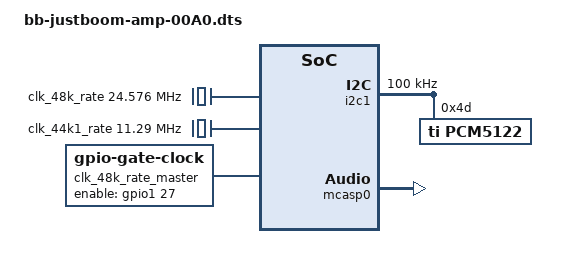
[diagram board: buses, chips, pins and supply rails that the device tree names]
/*
 * Copyright (C) 2012 Texas Instruments Incorporated - http://www.ti.com/
 *
 * This program is free software; you can redistribute it and/or modify
 * it under the terms of the GNU General Public License version 2 as
 * published by the Free Software Foundation.
 */

/dts-v1/;
/plugin/;

/ {
	/*
	 * Helper to show loaded overlays under: /proc/device-tree/chosen/overlays/
	 */
	fragment@0 {
		target-path="/";
		__overlay__ {

			chosen {
				overlays {
					bb-justboom-amp-00A0 = __TIMESTAMP__;
				};
			};
		};
	};

	/*
	 * Free up the pins used by the cape from the pinmux helpers.
	 */
	fragment@1 {
		target = <&ocp>;
		__overlay__ {
			P9_18_pinmux { status = "disabled"; };	/* P9_18: spi0_d1.i2c1_sda,SLEWCTRL_SLOW | INPUT_PULLUP |MODE2*/
			P9_17_pinmux { status = "disabled"; };	/* P9_17: spi0_cs0.i2c1_scl,SLEWCTRL_SLOW | INPUT_PULLUP | MODE2*/

			P9_25_pinmux { status = "disabled"; };	/* P9_25: mcasp0_ahclkx,	     MODE0 | INPUT_PULLDOWN  */
			P9_28_pinmux { status = "disabled"; };	/* P9_28: mcasp0_ahclkr,	     MODE2 | OUTPUT_PULLDOWN */
			P9_29_pinmux { status = "disabled"; };	/* P9_29: mcasp0_fsx,		     MODE0 | OUTPUT_PULLDOWN */
			P9_31_pinmux { status = "disabled"; };	/* P9_31: mcasp0_aclkr.mcasp0_aclkx, MODE0 | OUTPUT_PULLDOWN */ 
		};
	};

	fragment@2 {
		target = <&am33xx_pinmux>;
		__overlay__ {

			i2c1_pins: pinmux_i2c1_pins {
				pinctrl-single,pins = <
					0x158 0x72	/* P9_18: spi0_d1.i2c1_sda,SLEWCTRL_SLOW | INPUT_PULLUP |MODE2*/
					0x15c 0x72	/* P9_17: spi0_cs0.i2c1_scl,SLEWCTRL_SLOW | INPUT_PULLUP | MODE2*/
				>;
			};

			bone_audio_cape_audio_pins: pinmux_bone_audio_cape_audio_pins {
				pinctrl-single,pins = <
					0x1ac 0x20	/* P9_25: mcasp0_ahclkx,	     MODE0 | INPUT_PULLDOWN  */
					0x19c 0x02	/* P9_28: mcasp0_ahclkr,	     MODE2 | OUTPUT_PULLDOWN */
					0x194 0x00	/* P9_29: mcasp0_fsx,		     MODE0 | OUTPUT_PULLDOWN */
					0x190 0x00	/* P9_31: mcasp0_aclkr.mcasp0_aclkx, MODE0 | OUTPUT_PULLDOWN */ 
					0x06c 0x07	/* gpio1_27,			     MODE7 | OUTPUT_PULLDOWN */
				>;
			};
		};
	};

	fragment@3 {
		target = <&i2c1>;
		__overlay__ {
			#address-cells = <1>;
			#size-cells = <0>;
			clock-frequency = <100000>;
			status = "okay";
			pinctrl-names = "default";
			pinctrl-0 = <&i2c1_pins>;

			pcm5122: pcm5122@4d {
				compatible = "ti,pcm5122";
				reg = <0x4d>;
				/*pll-in = <3>;*/
				/*pll-out = <6>;*/
				/*clocks = <&clk_48k_rate_master &clk_44k1_rate>;*/
				status = "okay";
			};
		};
	};

	fragment@4 {
		target = <&mcasp0>;
		__overlay__ {
			pinctrl-names = "default";
			pinctrl-0 = <&bone_audio_cape_audio_pins>;

			status = "okay";

			op-mode = <0>;          /* MCASP_IIS_MODE */
			tdm-slots = <2>;
			num-serializer = <16>;
			serial-dir = <  /* 0: INACTIVE, 1: TX, 2: RX */
				0 0 1 0
				0 0 0 0
				0 0 0 0
				0 0 0 0
			>;
			tx-num-evt = <1>;
			rx-num-evt = <1>;
		};
	};

	fragment@5 {
		target = <&ocp>;
		__overlay__ {

			clk_48k_rate: clk_48k_rate {
				#clock-cells = <0>;
				compatible = "fixed-clock";
				clock-frequency = <24576000>;
			};

			clk_44k1_rate: clk_44k1_rate {
				#clock-cells = <0>;
				compatible = "fixed-clock";
				clock-frequency = <11289600>;
			};

			clk_48k_rate_master: clk_48k_rate_master {
				#clock-cells = <0>;
				compatible = "gpio-gate-clock";
				clocks = <&clk_48k_rate>;
				enable-gpios = <&gpio1 27 0>; /* BeagleBone Black Clk enable on GPIO1_27 */
			};

			sound {
				compatible = "justboom,justboom-dac";
				model = "bb_justboom_amp";
				audio-codec = <&pcm5122>;
				mcasp-controller = <&mcasp0>;
				clocks = <&clk_48k_rate_master &clk_44k1_rate>;
				clock-names = "mclk_48k", "mclk_44k1";
				clk-44k1-rate-en-gpio = <6>;
				led-gpio = <4>;
				24db_digital_gain = "justboom,24db_digital_gain?";
			};
		};
	};

	/*__overrides__ {
		24db_digital_gain = <&frag3>,"justboom,24db_digital_gain?";
	};*/
};
